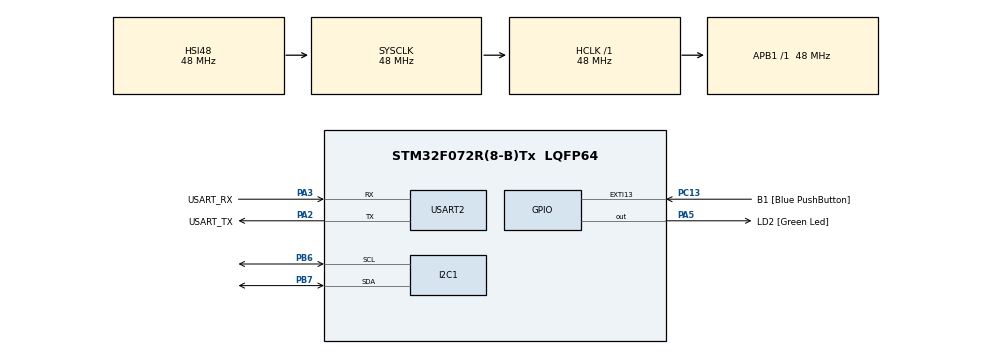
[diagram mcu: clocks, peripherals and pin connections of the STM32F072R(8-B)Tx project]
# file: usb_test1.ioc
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Mcu.Family=STM32F0
Mcu.Name=STM32F072R(8-B)Tx
Mcu.Package=LQFP64
PA13.GPIO_Label=TMS
PA13.Mode=Serial_Wire
PA13.Signal=SYS_SWDIO
PA14.GPIO_Label=TCK
PA14.Mode=Serial_Wire
PA14.Signal=SYS_SWCLK
PA2.GPIO_Label=USART_TX
PA2.GPIO_Mode=GPIO_MODE_AF_PP
PA2.GPIO_PuPd=GPIO_NOPULL
PA2.GPIO_Speed=GPIO_SPEED_FREQ_LOW
PA2.Mode=Asynchronous
PA2.Signal=USART2_TX
PA3.GPIO_Label=USART_RX
PA3.GPIO_Mode=GPIO_MODE_AF_PP
PA3.GPIO_PuPd=GPIO_NOPULL
PA3.GPIO_Speed=GPIO_SPEED_FREQ_LOW
PA3.Mode=Asynchronous
PA3.Signal=USART2_RX
PA5.GPIO_Label=LD2 [Green Led]
PA5.GPIO_Mode=GPIO_MODE_OUTPUT_PP
PA5.GPIO_PuPd=GPIO_NOPULL
PA5.GPIO_Speed=GPIO_SPEED_FREQ_LOW
PA5.Signal=GPIO_Output
PB6.Mode=I2C
PB6.Signal=I2C1_SCL
PB7.Mode=I2C
PB7.Signal=I2C1_SDA
PC13.GPIO_Label=B1 [Blue PushButton]
PC13.GPIO_ModeDefaultEXTI=GPIO_MODE_IT_FALLING
PC13.Signal=GPXTI13
PC14-OSC32_IN.Mode=LSE-External-Oscillator
PC14-OSC32_IN.Signal=RCC_OSC32_IN
PC15-OSC32_OUT.Mode=LSE-External-Oscillator
PC15-OSC32_OUT.Signal=RCC_OSC32_OUT
PF0-OSC_IN.Mode=HSE-External-Clock-Source
PF0-OSC_IN.Signal=RCC_OSC_IN
PF1-OSC_OUT.Signal=RCC_OSC_OUT
ProjectManager.HeapSize=0x200
ProjectManager.StackSize=0x400
ProjectManager.TargetToolchain=STM32CubeIDE
RCC.AHBFreq_Value=48000000
RCC.APB1Freq_Value=48000000
RCC.APB1TimFreq_Value=48000000
RCC.FLatency-AdvancedSettings=FLASH_LATENCY_1
RCC.HCLKFreq_Value=48000000
RCC.PLLDivider=RCC_PREDIV_DIV2
RCC.PLLMUL=RCC_PLL_MUL12
RCC.PREFETCH_ENABLE-AdvancedSettings=1
RCC.SYSCLKFreq_VALUE=48000000
RCC.SYSCLKSource=RCC_SYSCLKSOURCE_HSI48
USART2.VirtualMode=VM_ASYNC
USART2.VirtualMode-Asynchronous=VM_ASYNC
board=NUCLEO-F072RB

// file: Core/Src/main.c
/* USER CODE BEGIN Header */
/**
  ******************************************************************************
  * @file           : main.c
  * @brief          : Main program body
  ******************************************************************************
  * @attention
  *
  * Copyright (c) 2023 STMicroelectronics.
  * All rights reserved.
  *
  * This software is licensed under terms that can be found in the LICENSE file
  * in the root directory of this software component.
  * If no LICENSE file comes with this software, it is provided AS-IS.
  *
  ******************************************************************************
  */
/* USER CODE END Header */
#include "main.h"
#include "i2c.h"
#include "usart.h"
#include "gpio.h"

/* USER CODE BEGIN Includes */
#include <stdio.h>
#include <string.h>

#include "../../lib/encoder/encoder.h"
/* USER CODE END Includes */

/* USER CODE BEGIN PV */
char uart_data[100];

/* USER CODE END PV */

void SystemClock_Config(void);

/* USER CODE BEGIN 0 */
uint8_t scan_devices(void){
	uint8_t i=0;
	for(i=0;i<0xFF;i++){
	if(HAL_I2C_IsDeviceReady(&hi2c1,i,5,200) == HAL_OK)
		return i;

	}
	return 0xFF;
}
/* USER CODE END 0 */

int main(void)
{

  /* MCU Configuration--------------------------------------------------------*/

  /* Reset of all peripherals, Initializes the Flash interface and the Systick. */
  HAL_Init();

  /* Configure the system clock */
  SystemClock_Config();

  /* Initialize all configured peripherals */
  MX_GPIO_Init();
  MX_USART2_UART_Init();
  MX_I2C1_Init();
  /* USER CODE BEGIN 2 */
  HAL_Delay(2000);
  setGainCoefficient(25);
  HAL_Delay(2000);
  HAL_UART_Transmit(&huart2, (uint8_t*)"Hello_world",11,0xffffff);
  sprintf(uart_data,"cnt_data: %d \r\n\0",getGainCoefficient());
  HAL_UART_Transmit(&huart2, (const char *)uart_data,strlen(uart_data),0xffffff);

  /* USER CODE END 2 */

  /* Infinite loop */
  while (1)
  {

    /* USER CODE BEGIN 3 */
	  uint8_t dev_add;

	  sprintf(uart_data,"cnt_data: %d \r\n\0",countVal());
	  HAL_UART_Transmit(&huart2, (const char *)uart_data,strlen(uart_data),0xffffff);
	  if(getButtonDetect()){

		  HAL_GPIO_TogglePin(LD2_GPIO_Port,LD2_Pin);
          HAL_Delay(1000);

	  }

  }
  /* USER CODE END 3 */
}

void SystemClock_Config(void)
{
  RCC_OscInitTypeDef RCC_OscInitStruct = {0};
  RCC_ClkInitTypeDef RCC_ClkInitStruct = {0};
  RCC_PeriphCLKInitTypeDef PeriphClkInit = {0};

  /** Initializes the RCC Oscillators according to the specified parameters
  * in the RCC_OscInitTypeDef structure.
  */
  RCC_OscInitStruct.OscillatorType = RCC_OSCILLATORTYPE_HSI|RCC_OSCILLATORTYPE_HSI48;
  RCC_OscInitStruct.HSIState = RCC_HSI_ON;
  RCC_OscInitStruct.HSI48State = RCC_HSI48_ON;
  RCC_OscInitStruct.HSICalibrationValue = RCC_HSICALIBRATION_DEFAULT;
  RCC_OscInitStruct.PLL.PLLState = RCC_PLL_NONE;
  if (HAL_RCC_OscConfig(&RCC_OscInitStruct) != HAL_OK)
  {
    Error_Handler();
  }

  /** Initializes the CPU, AHB and APB buses clocks
  */
  RCC_ClkInitStruct.ClockType = RCC_CLOCKTYPE_HCLK|RCC_CLOCKTYPE_SYSCLK
                              |RCC_CLOCKTYPE_PCLK1;
  RCC_ClkInitStruct.SYSCLKSource = RCC_SYSCLKSOURCE_HSI48;
  RCC_ClkInitStruct.AHBCLKDivider = RCC_SYSCLK_DIV1;
  RCC_ClkInitStruct.APB1CLKDivider = RCC_HCLK_DIV1;

  if (HAL_RCC_ClockConfig(&RCC_ClkInitStruct, FLASH_LATENCY_1) != HAL_OK)
  {
    Error_Handler();
  }
  PeriphClkInit.PeriphClockSelection = RCC_PERIPHCLK_USART2|RCC_PERIPHCLK_I2C1;
  PeriphClkInit.Usart2ClockSelection = RCC_USART2CLKSOURCE_PCLK1;
  PeriphClkInit.I2c1ClockSelection = RCC_I2C1CLKSOURCE_HSI;
  if (HAL_RCCEx_PeriphCLKConfig(&PeriphClkInit) != HAL_OK)
  {
    Error_Handler();
  }
}

void Error_Handler(void)
{
  /* USER CODE BEGIN Error_Handler_Debug */
  /* User can add his own implementation to report the HAL error return state */
  __disable_irq();
  while (1)
  {
	  HAL_GPIO_TogglePin(LD2_GPIO_Port,LD2_Pin);
	  HAL_Delay(1000);
  }
  /* USER CODE END Error_Handler_Debug */
}
